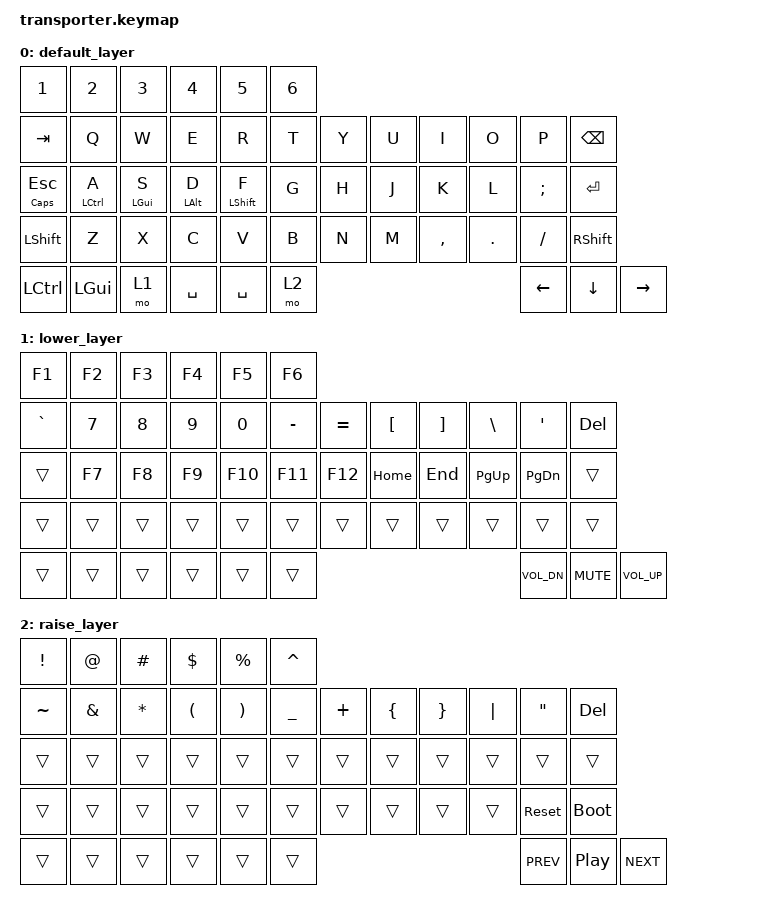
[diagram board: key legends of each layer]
/*
 * Copyright (c) 2026 carrefinho
 *
 * SPDX-License-Identifier: MIT
 */

#include <behaviors.dtsi>
#include <dt-bindings/zmk/keys.h>
#include <dt-bindings/zmk/bt.h>

/ {
	keymap {
		compatible = "zmk,keymap";

		default_layer {
			bindings = <
&kp N1     &kp N2     &kp N3     &kp N4     &kp N5     &kp N6
&kp TAB    &kp Q      &kp W      &kp E      &kp R      &kp T      &kp Y      &kp U      &kp I      &kp O      &kp P      &kp BSPC
&mt CAPS ESC &mt LCTRL A &mt LGUI S &mt LALT D &mt LSHFT F &kp G     &kp H      &kp J      &kp K      &kp L      &kp SEMI   &kp ENTER
&kp LSHFT  &kp Z      &kp X      &kp C      &kp V      &kp B      &kp N      &kp M      &kp COMMA  &kp DOT    &kp FSLH   &kp RSHFT
&kp LCTRL  &kp LGUI   &mo 1      &kp SPACE  &kp SPACE  &mo 2                                                   &kp LEFT   &kp DOWN   &kp RIGHT
			>;
		};

		lower_layer {
			bindings = <
&kp F1     &kp F2     &kp F3     &kp F4     &kp F5     &kp F6
&kp GRAVE  &kp N7     &kp N8     &kp N9     &kp N0     &kp MINUS  &kp EQUAL  &kp LBKT   &kp RBKT   &kp BSLH   &kp SQT    &kp DEL
&trans     &kp F7     &kp F8     &kp F9     &kp F10    &kp F11    &kp F12    &kp HOME   &kp END    &kp PG_UP  &kp PG_DN  &trans
&trans     &trans     &trans     &trans     &trans     &trans     &trans     &trans     &trans     &trans     &trans     &trans
&trans     &trans     &trans     &trans     &trans     &trans                                                  &kp C_VOL_DN &kp C_MUTE &kp C_VOL_UP
			>;
		};

		raise_layer {
			bindings = <
&kp EXCL   &kp AT     &kp HASH   &kp DLLR   &kp PRCNT  &kp CARET
&kp TILDE  &kp AMPS   &kp STAR   &kp LPAR   &kp RPAR   &kp UNDER  &kp PLUS   &kp LBRC   &kp RBRC   &kp PIPE   &kp DQT    &kp DEL
&trans     &trans     &trans     &trans     &trans     &trans     &trans     &trans     &trans     &trans     &trans     &trans
&trans     &trans     &trans     &trans     &trans     &trans     &trans     &trans     &trans     &trans     &sys_reset &bootloader
&trans     &trans     &trans     &trans     &trans     &trans                                                  &kp C_PREV &kp C_PP   &kp C_NEXT
			>;
		};
	};
};
